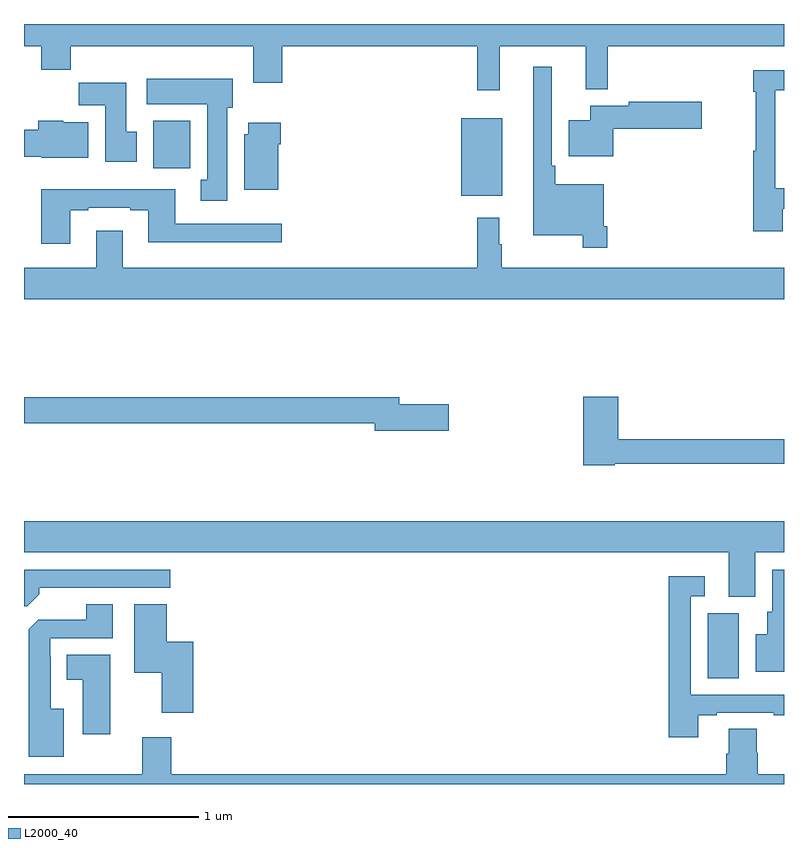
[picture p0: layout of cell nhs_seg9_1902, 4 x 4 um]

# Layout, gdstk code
import gdstk
lib = gdstk.Library(unit=1e-6, precision=1e-09)
def R(c, l, rs):  # rectangles x0, y0, x1, y1
    for r in rs: c.add(gdstk.rectangle(r[:2], r[2:], *l))
def P(c, l, *ps):  # polygons
    for p in ps: c.add(gdstk.Polygon(p, *l))
L2000_40 = (2000, 40)

nhs_seg9_1902 = lib.new_cell('nhs_seg9_1902')
R(nhs_seg9_1902, L2000_40, [(220.598,1229.056,220.762,1229.4), (219.302,1231.595,219.517,1232.005), (217.679,1231.74,217.875,1231.99)])
P(nhs_seg9_1902, L2000_40, [(219.503,1232.384),(219.956,1232.384),(219.956,1232.156),(220.073,1232.156),(220.073,1232.384),(221,1232.384),(221,1232.5),(217,1232.5),(217,1232.384),(217.091,1232.384),(217.091,1232.26),(217.247,1232.26),(217.247,1232.384),(218.207,1232.384),(218.207,1232.19),(218.36,1232.19),(218.36,1232.384),(219.385,1232.384),(219.385,1232.151),(219.503,1232.151)],
  [(220.07,1231.435),(220.05,1231.435),(220.05,1231.657),(219.797,1231.657),(219.797,1231.753),(219.777,1231.753),(219.777,1232.275),(219.68,1232.275),(219.68,1231.388),(219.942,1231.388),(219.942,1231.323),(220.07,1231.323)],
  [(220.993,1231.527),(221,1231.527),(221,1231.635),(220.953,1231.635),(220.953,1232.151),(221,1232.151),(221,1232.257),(220.837,1232.257),(220.837,1232.144),(220.852,1232.144),(220.852,1231.833),(220.837,1231.833),(220.837,1231.41),(220.993,1231.41)],
  [(218.071,1232.058),(218.098,1232.058),(218.098,1232.212),(217.647,1232.212),(217.647,1232.078),(217.964,1232.078),(217.964,1231.681),(217.931,1231.681),(217.931,1231.569),(218.071,1231.569)],
  [(217.594,1231.932),(217.537,1231.932),(217.537,1232.191),(217.288,1232.191),(217.288,1232.072),(217.427,1232.072),(217.427,1231.776),(217.594,1231.776)],
  [(220.102,1231.949),(220.567,1231.949),(220.567,1232.091),(220.182,1232.091),(220.182,1232.071),(219.98,1232.071),(219.98,1231.993),(219.866,1231.993),(219.866,1231.805),(220.102,1231.805)],
  [(217.339,1231.984),(217.206,1231.984),(217.206,1231.99),(217.076,1231.99),(217.076,1231.944),(217,1231.944),(217,1231.802),(217.092,1231.802),(217.092,1231.796),(217.339,1231.796)],
  [(218.338,1231.868),(218.351,1231.868),(218.351,1231.981),(218.18,1231.981),(218.18,1231.92),(218.159,1231.92),(218.159,1231.628),(218.338,1231.628)],
  [(217.243,1231.521),(217.339,1231.521),(217.339,1231.533),(217.559,1231.533),(217.559,1231.521),(217.655,1231.521),(217.655,1231.352),(218.356,1231.352),(218.356,1231.449),(217.795,1231.449),(217.795,1231.63),(217.091,1231.63),(217.091,1231.344),(217.243,1231.344)],
  [(221,1231.216),(219.514,1231.216),(219.514,1231.34),(219.502,1231.34),(219.502,1231.48),(219.385,1231.48),(219.385,1231.216),(217.519,1231.216),(217.519,1231.411),(217.379,1231.411),(217.379,1231.216),(217,1231.216),(217,1231.052),(221,1231.052)],
  [(220.11,1230.186),(221,1230.186),(221,1230.314),(220.127,1230.314),(220.127,1230.538),(219.944,1230.538),(219.944,1230.178),(220.11,1230.178)],
  [(219.235,1230.5),(218.974,1230.5),(218.974,1230.536),(217,1230.536),(217,1230.4),(218.846,1230.4),(218.846,1230.358),(219.235,1230.358)],
  [(220.849,1229.72),(221,1229.72),(221,1229.884),(217,1229.884),(217,1229.72),(220.709,1229.72),(220.709,1229.485),(220.849,1229.485)],
  [(221,1229.628),(220.938,1229.628),(220.938,1229.406),(220.913,1229.406),(220.913,1229.287),(220.85,1229.287),(220.85,1229.091),(221,1229.091)],
  [(217.079,1229.498),(217.079,1229.532),(217.771,1229.532),(217.771,1229.628),(217,1229.628),(217,1229.436),(217.017,1229.436)],
  [(220.549,1228.863),(220.645,1228.863),(220.645,1228.875),(220.945,1228.875),(220.945,1228.863),(221,1228.863),(221,1228.971),(220.509,1228.971),(220.509,1229.487),(220.582,1229.487),(220.582,1229.593),(220.393,1229.593),(220.393,1228.746),(220.549,1228.746)],
  [(217.21,1228.897),(217.141,1228.897),(217.141,1229.171),(217.137,1229.171),(217.137,1229.268),(217.468,1229.268),(217.468,1229.447),(217.328,1229.447),(217.328,1229.364),(217.074,1229.364),(217.025,1229.315),(217.025,1228.643),(217.21,1228.643)],
  [(217.892,1229.248),(217.751,1229.248),(217.751,1229.446),(217.58,1229.446),(217.58,1229.086),(217.724,1229.086),(217.724,1228.875),(217.892,1228.875)],
  [(217.453,1229.179),(217.226,1229.179),(217.226,1229.048),(217.31,1229.048),(217.31,1228.761),(217.453,1228.761)],
  [(221,1228.552),(220.862,1228.552),(220.862,1228.665),(220.857,1228.665),(220.857,1228.79),(220.709,1228.79),(220.709,1228.658),(220.697,1228.658),(220.697,1228.552),(217.775,1228.552),(217.775,1228.747),(217.622,1228.747),(217.622,1228.552),(217,1228.552),(217,1228.5),(221,1228.5)])

lib.write_gds('nhs_seg9_1902.gds')
